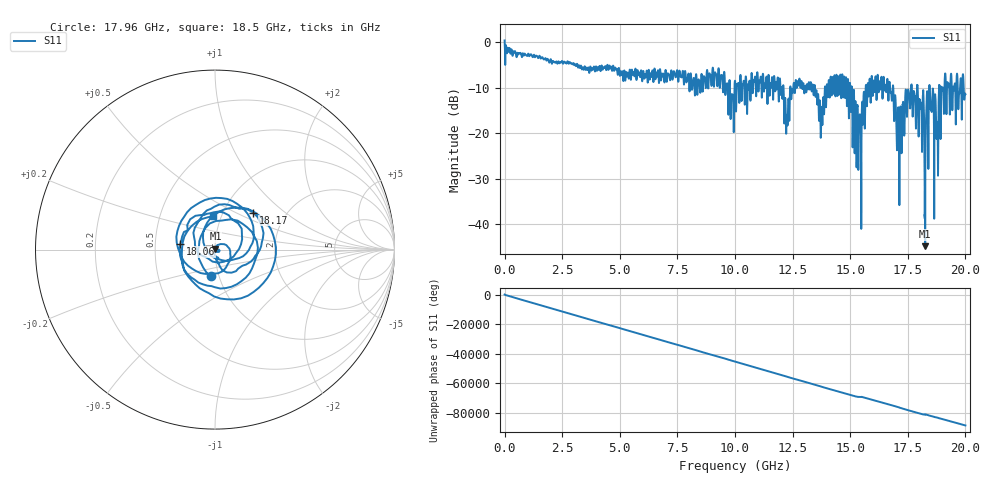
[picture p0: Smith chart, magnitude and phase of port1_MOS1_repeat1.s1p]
! MS46122B
! 2250307/22442219
! 7/22/2025 7:53:49 AM
! C:\USERS\SPARKY\DOCUMENTS\VNA_DATA\JULY22_2025\3K\PORT1_MOS1_REPEAT1.S1P
! CHANNEL.1
! TR.MEASUREMENT
! RAW.DATA
# GHZ S RI R 50.0
! FREQ.GHZ  S11RE  S11IM
!; PortSelection: Port_1
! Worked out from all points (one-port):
!   10001 points, 1 MHz to 20 GHz, reference 50 ohm
!   lowest |S11| = -44.8 dB at 18.25 GHz (marker M1), VSWR 1.01, Z = 50.3 + j0.52 ohm
!   |S11| at or under -10 dB: 15.07 GHz to 15.67 GHz (602 MHz wide, 3.92 % of centre); 16.87 GHz to 17.64 GHz (771.9 MHz wide, 4.47 % of centre); 17.93 GHz to 18.43 GHz (499.6 MHz wide, 2.75 % of centre) (the widest 3 of 91)
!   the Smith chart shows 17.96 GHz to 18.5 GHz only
!   S11 on the Smith chart (normalised r, x): 17.96 GHz: 0.92, -0.28; 18.06 GHz: 0.67, +0.04; 18.17 GHz: 1.38, +0.62; 18.5 GHz: 0.92, +0.35
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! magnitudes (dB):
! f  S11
! 1 MHz  0.4
! 2.501 GHz  -4.2
! 5.001 GHz  -7.3
! 7.501 GHz  -6.3
! 9.355 GHz  -9.0
! 10 GHz  -8.4
! 11.78 GHz  -8.8
! 12.28 GHz  -18.1
! 12.5 GHz  -10.8
! 13.29 GHz  -8.8
! 13.72 GHz  -21.0
! 14.23 GHz  -7.6
! 15 GHz  -9.8
! 15.41 GHz  -16.4
! 15.85 GHz  -8.2
! 16.78 GHz  -11.1
! 17.13 GHz  -35.1
! 17.5 GHz  -10.9
! 17.96 GHz  -16.6
! 18.06 GHz  -14.1
! 18.17 GHz  -10.6
! 18.25 GHz  -44.8
! 18.31 GHz  -13.7
! 18.37 GHz  -15.9
! 18.5 GHz  -14.6
! 18.73 GHz  -19.1
! 19.05 GHz  -12.1
! 20 GHz  -11.4
